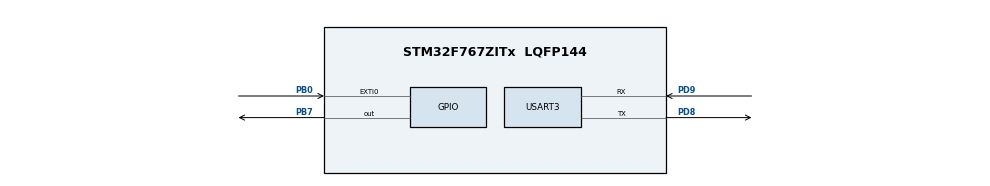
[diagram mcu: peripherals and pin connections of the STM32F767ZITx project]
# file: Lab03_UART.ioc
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CORTEX_M7.default_mode_Activation=1
Mcu.Family=STM32F7
Mcu.Name=STM32F767ZITx
Mcu.Package=LQFP144
NVIC.PriorityGroup=NVIC_PRIORITYGROUP_4
PB0.Signal=GPXTI0
PB7.Signal=GPIO_Output
PD8.Mode=Asynchronous
PD8.Signal=USART3_TX
PD9.Mode=Asynchronous
PD9.Signal=USART3_RX
ProjectManager.HeapSize=0x200
ProjectManager.StackSize=0x400
ProjectManager.TargetToolchain=STM32CubeIDE
RCC.HSE_VALUE=25000000
RCC.HSI_VALUE=16000000
RCC.LSE_VALUE=32768
RCC.USBFreq_Value=96000000
RCC.VCOOutputFreq_Value=192000000
USART3.VirtualMode-Asynchronous=VM_ASYNC
board=custom

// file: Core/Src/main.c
/* USER CODE BEGIN Header */
/**
  ******************************************************************************
  * @file           : main.c
  * @brief          : Main program body
  *                   Lab 3 - UART (Experiment 4: menu + LEDs)
  *                   01276314 Microcontroller Interfacing, KMITL
  ******************************************************************************
  * @attention
  *
  * Copyright (c) 2026 STMicroelectronics.
  * All rights reserved.
  *
  * This software is licensed under terms that can be found in the LICENSE file
  * in the root directory of this software component.
  * If no LICENSE file comes with this software, it is provided AS-IS.
  *
  ******************************************************************************
  */
/* USER CODE END Header */
#include "main.h"
#include "usart.h"
#include "gpio.h"

/* USER CODE BEGIN Includes */
#include "string.h"
/* USER CODE END Includes */

/* USER CODE BEGIN PD */
/* On-board LEDs of the Nucleo-F767ZI board (no external wiring needed) */
#define LED1_PORT   GPIOB
#define LED1_PIN    GPIO_PIN_0   /* LD1 - green */
#define LED2_PORT   GPIOB
#define LED2_PIN    GPIO_PIN_7   /* LD2 - blue  */
/* USER CODE END PD */

/* USER CODE BEGIN PV */
char rx_buf;

char menu[] =
    "\r\n"
    "Display Blinking LED   PRESS (1, 2)\r\n"
    "Display Group Members  PRESS m\r\n"
    "Quit                   PRESS q\r\n";

char prompt[]   = "Input => ";
char newline[]  = "\r\n";
char quit_msg[] = "Quit\r\n";
char unknown[]  = "Unknown Command\r\n";

/* TODO: replace with your real group members (student ID + full name) */
char members[] =
    "67011162\r\nMaris Methamaneechote\r\n"
    "67011634\r\nPaphada Borisutsukkamol\r\n";

/* USER CODE END PV */

void SystemClock_Config(void);
static void MPU_Config(void);
/* USER CODE BEGIN PFP */
static void UART_Print(char *s);
static void UART_PutChar(char c);
static char UART_GetChar(void);
static void Blink_LED(GPIO_TypeDef *port, uint16_t pin, uint8_t times, uint32_t ms);
static void LED_GPIO_Init(void);
/* USER CODE END PFP */

/* USER CODE BEGIN 0 */

/* Wait until the previous transmission is done (TC=1), then send a string */
static void UART_Print(char *s)
{
    while (__HAL_UART_GET_FLAG(&huart3, UART_FLAG_TC) == RESET) {}
    HAL_UART_Transmit(&huart3, (uint8_t *)s, strlen(s), 1000);
}

/* Send a single character */
static void UART_PutChar(char c)
{
    while (__HAL_UART_GET_FLAG(&huart3, UART_FLAG_TC) == RESET) {}
    HAL_UART_Transmit(&huart3, (uint8_t *)&c, 1, 1000);
}

/* Wait until a byte is available (RXNE=1), then read and return it */
static char UART_GetChar(void)
{
    char c;
    while (__HAL_UART_GET_FLAG(&huart3, UART_FLAG_RXNE) == RESET) {}
    HAL_UART_Receive(&huart3, (uint8_t *)&c, 1, 1000);
    return c;
}

/* Blink one LED 'times' times with 'ms' delay on each state */
static void Blink_LED(GPIO_TypeDef *port, uint16_t pin, uint8_t times, uint32_t ms)
{
    for (uint8_t i = 0; i < times; i++)
    {
        HAL_GPIO_WritePin(port, pin, GPIO_PIN_SET);
        HAL_Delay(ms);
        HAL_GPIO_WritePin(port, pin, GPIO_PIN_RESET);
        HAL_Delay(ms);
    }
}

/* Configure PB0 / PB7 as push-pull outputs for the on-board LEDs.
   Done here so you do NOT have to add the LEDs in CubeMX. */
static void LED_GPIO_Init(void)
{
    GPIO_InitTypeDef led = {0};

    __HAL_RCC_GPIOB_CLK_ENABLE();

    HAL_GPIO_WritePin(GPIOB, LED1_PIN | LED2_PIN, GPIO_PIN_RESET);

    led.Pin   = LED1_PIN | LED2_PIN;
    led.Mode  = GPIO_MODE_OUTPUT_PP;
    led.Pull  = GPIO_NOPULL;
    led.Speed = GPIO_SPEED_FREQ_LOW;
    HAL_GPIO_Init(GPIOB, &led);
}

/* USER CODE END 0 */

int main(void)
{

  /* MPU Configuration--------------------------------------------------------*/
  MPU_Config();

  /* MCU Configuration--------------------------------------------------------*/

  /* Reset of all peripherals, Initializes the Flash interface and the Systick. */
  HAL_Init();

  /* Configure the system clock */
  SystemClock_Config();

  /* Initialize all configured peripherals */
  MX_GPIO_Init();
  MX_USART3_UART_Init();
  /* USER CODE BEGIN 2 */
  LED_GPIO_Init();

  /* Show the full menu once at start-up */
  UART_Print(menu);
  UART_Print(prompt);
  /* USER CODE END 2 */

  /* Infinite loop */
  /* USER CODE BEGIN WHILE */
  while (1)
  {
      /* 1. Wait for one character from the terminal */
      rx_buf = UART_GetChar();

      /* 2. Echo it back, then move to a new line */
      UART_PutChar(rx_buf);
      UART_Print(newline);

      /* 3. Perform the task for that character (Table 6.1) */
      switch (rx_buf)
      {
          case '1':
              Blink_LED(LED1_PORT, LED1_PIN, 3, 300);
              break;

          case '2':
              Blink_LED(LED2_PORT, LED2_PIN, 3, 300);
              break;

          case 'm':
              UART_Print(members);
              break;

          case 'q':
              UART_Print(quit_msg);
              break;                 /* leave the switch, then exit below */

          default:
              UART_Print(unknown);
              break;
      }

      /* 4. On 'q': stop responding (stop TX/RX) */
      if (rx_buf == 'q')
      {
          break;                     /* exits the while(1) loop */
      }

      /* 5. Otherwise prompt again with only "Input => " */
      UART_Print(prompt);
    /* USER CODE END WHILE */

  }
}

void SystemClock_Config(void)
{
  RCC_OscInitTypeDef RCC_OscInitStruct = {0};
  RCC_ClkInitTypeDef RCC_ClkInitStruct = {0};

  /** Configure the main internal regulator output voltage
  */
  __HAL_RCC_PWR_CLK_ENABLE();
  __HAL_PWR_VOLTAGESCALING_CONFIG(PWR_REGULATOR_VOLTAGE_SCALE3);

  /** Initializes the RCC Oscillators according to the specified parameters
  * in the RCC_OscInitTypeDef structure.
  */
  RCC_OscInitStruct.OscillatorType = RCC_OSCILLATORTYPE_HSI;
  RCC_OscInitStruct.HSIState = RCC_HSI_ON;
  RCC_OscInitStruct.HSICalibrationValue = RCC_HSICALIBRATION_DEFAULT;
  RCC_OscInitStruct.PLL.PLLState = RCC_PLL_NONE;
  if (HAL_RCC_OscConfig(&RCC_OscInitStruct) != HAL_OK)
  {
    Error_Handler();
  }

  /** Initializes the CPU, AHB and APB buses clocks
  */
  RCC_ClkInitStruct.ClockType = RCC_CLOCKTYPE_HCLK|RCC_CLOCKTYPE_SYSCLK
                              |RCC_CLOCKTYPE_PCLK1|RCC_CLOCKTYPE_PCLK2;
  RCC_ClkInitStruct.SYSCLKSource = RCC_SYSCLKSOURCE_HSI;
  RCC_ClkInitStruct.AHBCLKDivider = RCC_SYSCLK_DIV1;
  RCC_ClkInitStruct.APB1CLKDivider = RCC_HCLK_DIV1;
  RCC_ClkInitStruct.APB2CLKDivider = RCC_HCLK_DIV1;

  if (HAL_RCC_ClockConfig(&RCC_ClkInitStruct, FLASH_LATENCY_0) != HAL_OK)
  {
    Error_Handler();
  }
}

 /* MPU Configuration */

void MPU_Config(void)
{
  MPU_Region_InitTypeDef MPU_InitStruct = {0};

  /* Disables the MPU */
  HAL_MPU_Disable();

  /** Initializes and configures the Region and the memory to be protected
  */
  MPU_InitStruct.Enable = MPU_REGION_ENABLE;
  MPU_InitStruct.Number = MPU_REGION_NUMBER0;
  MPU_InitStruct.BaseAddress = 0x0;
  MPU_InitStruct.Size = MPU_REGION_SIZE_4GB;
  MPU_InitStruct.SubRegionDisable = 0x87;
  MPU_InitStruct.TypeExtField = MPU_TEX_LEVEL0;
  MPU_InitStruct.AccessPermission = MPU_REGION_NO_ACCESS;
  MPU_InitStruct.DisableExec = MPU_INSTRUCTION_ACCESS_DISABLE;
  MPU_InitStruct.IsShareable = MPU_ACCESS_SHAREABLE;
  MPU_InitStruct.IsCacheable = MPU_ACCESS_NOT_CACHEABLE;
  MPU_InitStruct.IsBufferable = MPU_ACCESS_NOT_BUFFERABLE;

  HAL_MPU_ConfigRegion(&MPU_InitStruct);
  /* Enables the MPU */
  HAL_MPU_Enable(MPU_PRIVILEGED_DEFAULT);

}

void Error_Handler(void)
{
  __disable_irq();
  while (1)
  {
  }
}
